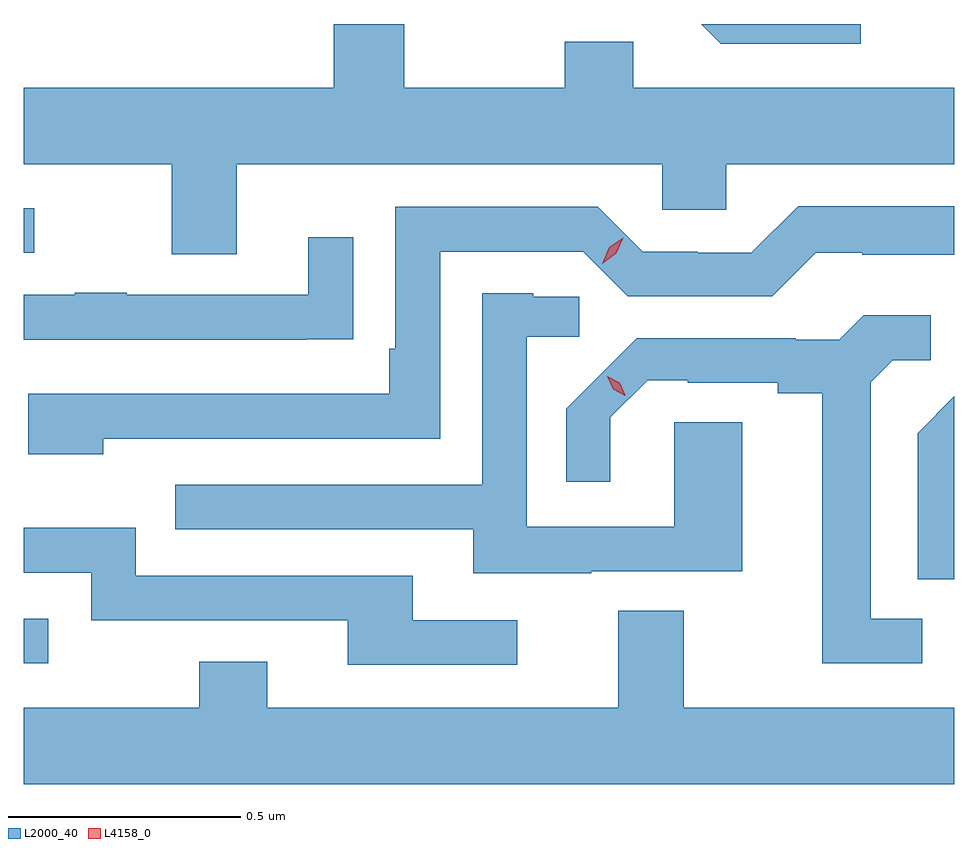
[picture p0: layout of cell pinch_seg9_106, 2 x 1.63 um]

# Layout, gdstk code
import gdstk
lib = gdstk.Library(unit=1e-6, precision=1e-09)
def R(c, l, rs):  # rectangles x0, y0, x1, y1
    for r in rs: c.add(gdstk.rectangle(r[:2], r[2:], *l))
def P(c, l, *ps):  # polygons
    for p in ps: c.add(gdstk.Polygon(p, *l))
L2000_40 = (2000, 40)
L4158_0 = (4158, 0)

pinch_seg9_106 = lib.new_cell('pinch_seg9_106')
R(pinch_seg9_106, L2000_40, [(1143.107,1200.675,1143.16,1200.771), (1143.107,1201.557,1143.13,1201.653)])
P(pinch_seg9_106, L2000_40, [(1144.906,1202.049),(1144.563,1202.049),(1144.605,1202.007),(1144.906,1202.007)],
  [(1143.565,1201.748),(1144.479,1201.748),(1144.479,1201.65),(1144.617,1201.65),(1144.617,1201.748),(1145.107,1201.748),(1145.107,1201.912),(1144.417,1201.912),(1144.417,1202.011),(1144.27,1202.011),(1144.27,1201.912),(1143.925,1201.912),(1143.925,1202.049),(1143.773,1202.049),(1143.773,1201.912),(1143.107,1201.912),(1143.107,1201.748),(1143.425,1201.748),(1143.425,1201.554),(1143.565,1201.554)],
  [(1143.278,1201.158),(1144.002,1201.158),(1144.002,1201.56),(1144.309,1201.56),(1144.405,1201.464),(1144.716,1201.464),(1144.809,1201.557),(1144.909,1201.557),(1144.909,1201.553),(1145.107,1201.553),(1145.107,1201.657),(1144.771,1201.657),(1144.671,1201.557),(1144.556,1201.557),(1144.556,1201.56),(1144.437,1201.56),(1144.341,1201.656),(1143.906,1201.656),(1143.906,1201.351),(1143.893,1201.351),(1143.893,1201.254),(1143.117,1201.254),(1143.117,1201.124),(1143.278,1201.124)],
  [(1143.713,1201.372),(1143.815,1201.372),(1143.815,1201.591),(1143.719,1201.591),(1143.719,1201.467),(1143.329,1201.467),(1143.329,1201.472),(1143.217,1201.472),(1143.217,1201.467),(1143.107,1201.467),(1143.107,1201.371),(1143.713,1201.371)],
  [(1144.327,1200.873),(1144.651,1200.873),(1144.651,1201.193),(1144.505,1201.193),(1144.505,1200.969),(1144.188,1200.969),(1144.188,1201.377),(1144.301,1201.377),(1144.301,1201.463),(1144.202,1201.463),(1144.202,1201.47),(1144.092,1201.47),(1144.092,1201.059),(1143.433,1201.059),(1143.433,1200.963),(1144.073,1200.963),(1144.073,1200.869),(1144.327,1200.869)],
  [(1145.038,1200.771),(1144.927,1200.771),(1144.927,1201.279),(1144.974,1201.326),(1145.056,1201.326),(1145.056,1201.423),(1144.912,1201.423),(1144.86,1201.371),(1144.766,1201.371),(1144.766,1201.374),(1144.425,1201.374),(1144.273,1201.222),(1144.273,1201.065),(1144.368,1201.065),(1144.368,1201.204),(1144.448,1201.284),(1144.534,1201.284),(1144.534,1201.278),(1144.727,1201.278),(1144.727,1201.256),(1144.823,1201.256),(1144.823,1200.675),(1145.038,1200.675)],
  [(1145.107,1201.249),(1145.028,1201.17),(1145.028,1200.856),(1145.107,1200.856)],
  [(1144.168,1200.768),(1143.943,1200.768),(1143.943,1200.864),(1143.348,1200.864),(1143.348,1200.967),(1143.107,1200.967),(1143.107,1200.87),(1143.252,1200.87),(1143.252,1200.768),(1143.803,1200.768),(1143.803,1200.672),(1144.168,1200.672)],
  [(1145.107,1200.58),(1144.525,1200.58),(1144.525,1200.788),(1144.385,1200.788),(1144.385,1200.58),(1143.631,1200.58),(1143.631,1200.679),(1143.484,1200.679),(1143.484,1200.58),(1143.107,1200.58),(1143.107,1200.416),(1145.107,1200.416)])
P(pinch_seg9_106, L4158_0, [(1144.4,1201.25),(1144.374,1201.264),(1144.361,1201.292),(1144.361,1201.292),(1144.361,1201.292),(1144.388,1201.278),(1144.4,1201.251),(1144.4,1201.25)],
  [(1144.35,1201.534),(1144.35,1201.534),(1144.365,1201.569),(1144.395,1201.59),(1144.395,1201.59),(1144.395,1201.59),(1144.38,1201.556),(1144.35,1201.534)])

lib.write_gds('pinch_seg9_106.gds')
